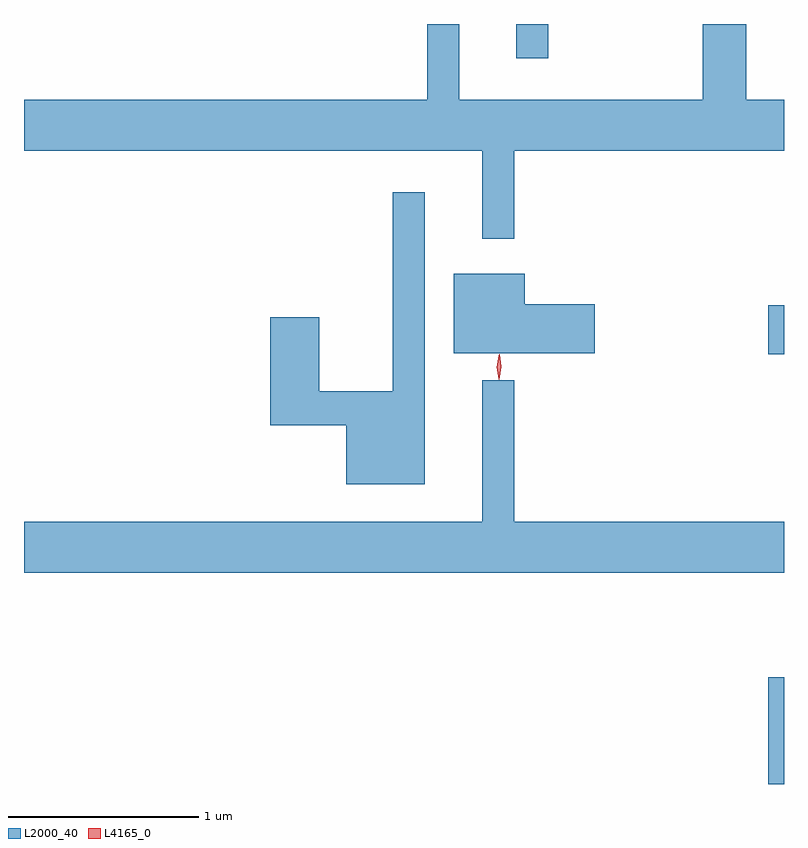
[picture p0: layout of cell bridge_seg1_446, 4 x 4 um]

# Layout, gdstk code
import gdstk
lib = gdstk.Library(unit=1e-6, precision=1e-09)
def R(c, l, rs):  # rectangles x0, y0, x1, y1
    for r in rs: c.add(gdstk.rectangle(r[:2], r[2:], *l))
def P(c, l, *ps):  # polygons
    for p in ps: c.add(gdstk.Polygon(p, *l))
L2000_40 = (2000, 40)
L4165_0 = (4165, 0)

bridge_seg1_446 = lib.new_cell('bridge_seg1_446')
R(bridge_seg1_446, L2000_40, [(209.006,900.683,209.089,901.244), (209.006,902.946,209.089,903.204), (207.681,904.503,207.849,904.683)])
P(bridge_seg1_446, L2000_40, [(207.669,904.016),(209.089,904.016),(209.089,904.284),(208.889,904.284),(208.889,904.683),(208.661,904.683),(208.661,904.284),(207.379,904.284),(207.379,904.683),(207.211,904.683),(207.211,904.284),(205.089,904.284),(205.089,904.016),(207.501,904.016),(207.501,903.553),(207.669,903.553)],
  [(207.199,903.798),(207.031,903.798),(207.031,902.749),(206.644,902.749),(206.644,903.139),(206.386,903.139),(206.386,902.571),(206.786,902.571),(206.786,902.261),(207.199,902.261)],
  [(208.094,903.209),(207.724,903.209),(207.724,903.369),(207.351,903.369),(207.351,902.951),(208.094,902.951)],
  [(209.089,902.064),(207.669,902.064),(207.669,902.808),(207.501,902.808),(207.501,902.064),(205.089,902.064),(205.089,901.796),(209.089,901.796)])
P(bridge_seg1_446, L4165_0, [(207.587,902.813),(207.587,902.813),(207.578,902.876),(207.587,902.94),(207.587,902.94),(207.588,902.94),(207.597,902.876),(207.588,902.813)],
  [(207.59,902.81),(207.59,902.81),(207.581,902.878),(207.591,902.945),(207.592,902.946),(207.592,902.945),(207.601,902.878),(207.59,902.81)])

lib.write_gds('bridge_seg1_446.gds')
